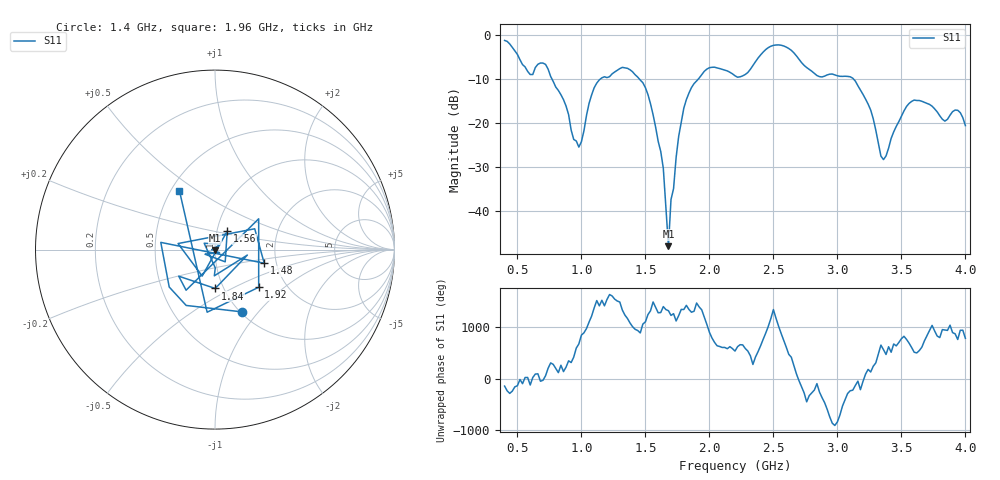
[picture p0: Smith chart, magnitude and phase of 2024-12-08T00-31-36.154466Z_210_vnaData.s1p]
!Created with skrf (http://scikit-rf.org).
# Hz S RI R 50.0
!freq ReS11 ImS11
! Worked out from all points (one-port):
!   181 points, 400 MHz to 4 GHz, reference 50 ohm
!   lowest |S11| = -48.1 dB at 1.68 GHz (marker M1), VSWR 1.01, Z = 49.8 - j0.359 ohm
!   |S11| at or under -10 dB: 768.6 MHz to 1.152 GHz (383 MHz wide, 39.9 % of centre); 1.45 GHz to 1.916 GHz (465.4 MHz wide, 27.6 % of centre); 3.123 GHz to end of sweep
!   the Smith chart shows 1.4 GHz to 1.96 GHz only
!   S11 on the Smith chart (normalised r, x): 1.4 GHz: 1.02, -0.82; 1.48 GHz: 1.73, -0.29; 1.56 GHz: 1.12, +0.23; 1.84 GHz: 0.91, -0.41; 1.92 GHz: 1.45, -0.68; 1.96 GHz: 0.55, +0.43
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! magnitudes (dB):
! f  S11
! 400 MHz  -1.3
! 600 MHz  -9.1
! 720 MHz  -6.8
! 860 MHz  -14.8
! 980 MHz  -25.5
! 1.1 GHz  -12.0
! 1.3 GHz  -7.7
! 1.4 GHz  -8.4
! 1.48 GHz  -10.9
! 1.56 GHz  -18.2
! 1.64 GHz  -30.4
! 1.68 GHz  -48.1
! 1.7 GHz  -37.5
! 1.76 GHz  -23.1
! 1.84 GHz  -13.3
! 1.92 GHz  -9.9
! 1.96 GHz  -8.3
! 2.2 GHz  -9.3
! 2.48 GHz  -2.6
! 2.66 GHz  -4.1
! 2.86 GHz  -9.5
! 3.1 GHz  -9.6
! 3.26 GHz  -17.1
! 3.36 GHz  -28.4
! 3.56 GHz  -15.6
! 3.84 GHz  -19.6
! 3.94 GHz  -17.2
! 4 GHz  -20.7
